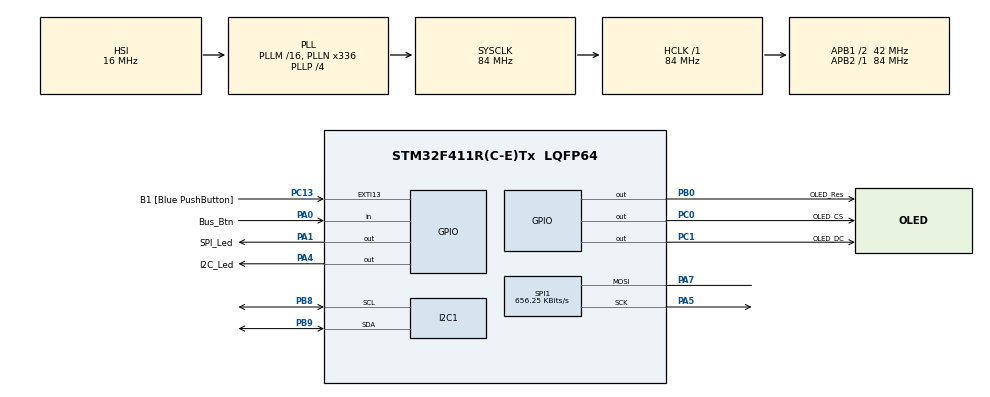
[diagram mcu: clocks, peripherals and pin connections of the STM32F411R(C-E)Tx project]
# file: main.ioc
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Mcu.Family=STM32F4
Mcu.Name=STM32F411R(C-E)Tx
Mcu.Package=LQFP64
NVIC.PriorityGroup=NVIC_PRIORITYGROUP_0
PA0-WKUP.GPIO_Label=Bus_Btn
PA0-WKUP.Signal=GPIO_Input
PA1.GPIO_Label=SPI_Led
PA1.Signal=GPIO_Output
PA13.GPIO_Label=TMS
PA13.Signal=SYS_JTMS-SWDIO
PA14.GPIO_Label=TCK
PA14.Signal=SYS_JTCK-SWCLK
PA2.GPIO_Label=USART_TX
PA2.Signal=USART2_TX
PA3.GPIO_Label=USART_RX
PA3.Signal=USART2_RX
PA4.GPIO_Label=I2C_Led
PA4.Signal=GPIO_Output
PA5.Mode=Simplex_Bidirectional_Master
PA5.Signal=SPI1_SCK
PA7.Mode=Simplex_Bidirectional_Master
PA7.Signal=SPI1_MOSI
PB0.GPIO_Label=OLED_Res
PB0.Signal=GPIO_Output
PB3.GPIO_Label=SWO
PB3.Signal=SYS_JTDO-SWO
PB8.Mode=I2C
PB8.Signal=I2C1_SCL
PB9.Mode=I2C
PB9.Signal=I2C1_SDA
PC0.GPIO_Label=OLED_CS
PC0.Signal=GPIO_Output
PC1.GPIO_Label=OLED_DC
PC1.Signal=GPIO_Output
PC13-ANTI_TAMP.GPIO_Label=B1 [Blue PushButton]
PC13-ANTI_TAMP.GPIO_ModeDefaultEXTI=GPIO_MODE_IT_FALLING
PC13-ANTI_TAMP.Signal=GPXTI13
PC14-OSC32_IN.Signal=RCC_OSC32_IN
PC15-OSC32_OUT.Signal=RCC_OSC32_OUT
PH0\ -\ OSC_IN.Signal=RCC_OSC_IN
PH1\ -\ OSC_OUT.Signal=RCC_OSC_OUT
ProjectManager.HeapSize=0x200
ProjectManager.StackSize=0x400
ProjectManager.TargetToolchain=Makefile
RCC.48MHZClocksFreq_Value=84000000
RCC.AHBFreq_Value=84000000
RCC.APB1CLKDivider=RCC_HCLK_DIV2
RCC.APB1Freq_Value=42000000
RCC.APB1TimFreq_Value=84000000
RCC.APB2Freq_Value=84000000
RCC.APB2TimFreq_Value=84000000
RCC.CortexFreq_Value=84000000
RCC.FLatency-AdvancedSettings=FLASH_LATENCY_2
RCC.HCLKFreq_Value=84000000
RCC.HSE_VALUE=8000000
RCC.HSI_VALUE=16000000
RCC.LSE_VALUE=32768
RCC.PLLN=336
RCC.PLLP=RCC_PLLP_DIV4
RCC.SYSCLKFreq_VALUE=84000000
RCC.SYSCLKSource=RCC_SYSCLKSOURCE_PLLCLK
RCC.VCOOutputFreq_Value=336000000
SPI1.BaudRatePrescaler=SPI_BAUDRATEPRESCALER_128
SPI1.CalculateBaudRate=656.25 KBits/s
SPI1.Direction=SPI_DIRECTION_1LINE
SPI1.Mode=SPI_MODE_MASTER
SPI1.VirtualType=VM_MASTER
board=NUCLEO-F411RE

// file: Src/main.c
#include "main.h"
#include "stm32f4xx_hal.h"

/* USER CODE BEGIN Includes */
#include "ssd1306.h"
#include "ssd1306_tests.h"
#include <stdbool.h>
/* USER CODE END Includes */

I2C_HandleTypeDef hi2c1;

SPI_HandleTypeDef hspi1;

/* USER CODE BEGIN PV */
/* Private variables ---------------------------------------------------------*/

/* USER CODE END PV */

void SystemClock_Config(void);
static void MX_GPIO_Init(void);
static void MX_SPI1_Init(void);
static void MX_I2C1_Init(void);

/* USER CODE BEGIN PFP */
/* Private function prototypes -----------------------------------------------*/

/* USER CODE END PFP */

/* USER CODE BEGIN 0 */
void init() {
	HAL_GPIO_WritePin(SPI_Led_GPIO_Port, SPI_Led_Pin, GPIO_PIN_RESET);
	HAL_GPIO_WritePin(I2C_Led_GPIO_Port, I2C_Led_Pin, GPIO_PIN_RESET);
}

void loop() {
	// Blue button pressed - repeast the test
    if(HAL_GPIO_ReadPin(GPIOC, GPIO_PIN_13) == GPIO_PIN_RESET) {
		// Indicate that test is running
		HAL_GPIO_WritePin(I2C_Led_GPIO_Port, I2C_Led_Pin, GPIO_PIN_SET);

		ssd1306_TestAll();

		HAL_GPIO_WritePin(SPI_Led_GPIO_Port, SPI_Led_Pin, GPIO_PIN_RESET);
		HAL_GPIO_WritePin(I2C_Led_GPIO_Port, I2C_Led_Pin, GPIO_PIN_RESET);
    }

	// Blink an LED
	HAL_GPIO_TogglePin(I2C_Led_GPIO_Port, I2C_Led_Pin);
	HAL_Delay(150);
}

/* USER CODE END 0 */

int main(void)
{

  /* MCU Configuration----------------------------------------------------------*/

  /* Reset of all peripherals, Initializes the Flash interface and the Systick. */
  HAL_Init();

  /* Configure the system clock */
  SystemClock_Config();

  /* Initialize all configured peripherals */
  MX_GPIO_Init();
  MX_SPI1_Init();
  MX_I2C1_Init();

  /* Infinite loop */
  /* USER CODE BEGIN WHILE */
  init();
  while (1)
  {
    loop();
  /* USER CODE END WHILE */

  }

}

/** System Clock Configuration
*/
void SystemClock_Config(void)
{

  RCC_OscInitTypeDef RCC_OscInitStruct;
  RCC_ClkInitTypeDef RCC_ClkInitStruct;

    /**Configure the main internal regulator output voltage
    */
  __HAL_RCC_PWR_CLK_ENABLE();

  __HAL_PWR_VOLTAGESCALING_CONFIG(PWR_REGULATOR_VOLTAGE_SCALE1);

    /**Initializes the CPU, AHB and APB busses clocks
    */
  RCC_OscInitStruct.OscillatorType = RCC_OSCILLATORTYPE_HSI;
  RCC_OscInitStruct.HSIState = RCC_HSI_ON;
  RCC_OscInitStruct.HSICalibrationValue = 16;
  RCC_OscInitStruct.PLL.PLLState = RCC_PLL_ON;
  RCC_OscInitStruct.PLL.PLLSource = RCC_PLLSOURCE_HSI;
  RCC_OscInitStruct.PLL.PLLM = 16;
  RCC_OscInitStruct.PLL.PLLN = 336;
  RCC_OscInitStruct.PLL.PLLP = RCC_PLLP_DIV4;
  RCC_OscInitStruct.PLL.PLLQ = 4;
  if (HAL_RCC_OscConfig(&RCC_OscInitStruct) != HAL_OK)
  {
    _Error_Handler(__FILE__, __LINE__);
  }

    /**Initializes the CPU, AHB and APB busses clocks
    */
  RCC_ClkInitStruct.ClockType = RCC_CLOCKTYPE_HCLK|RCC_CLOCKTYPE_SYSCLK
                              |RCC_CLOCKTYPE_PCLK1|RCC_CLOCKTYPE_PCLK2;
  RCC_ClkInitStruct.SYSCLKSource = RCC_SYSCLKSOURCE_PLLCLK;
  RCC_ClkInitStruct.AHBCLKDivider = RCC_SYSCLK_DIV1;
  RCC_ClkInitStruct.APB1CLKDivider = RCC_HCLK_DIV2;
  RCC_ClkInitStruct.APB2CLKDivider = RCC_HCLK_DIV1;

  if (HAL_RCC_ClockConfig(&RCC_ClkInitStruct, FLASH_LATENCY_2) != HAL_OK)
  {
    _Error_Handler(__FILE__, __LINE__);
  }

    /**Configure the Systick interrupt time
    */
  HAL_SYSTICK_Config(HAL_RCC_GetHCLKFreq()/1000);

    /**Configure the Systick
    */
  HAL_SYSTICK_CLKSourceConfig(SYSTICK_CLKSOURCE_HCLK);

  /* SysTick_IRQn interrupt configuration */
  HAL_NVIC_SetPriority(SysTick_IRQn, 0, 0);
}

/* I2C1 init function */
static void MX_I2C1_Init(void)
{

  hi2c1.Instance = I2C1;
  hi2c1.Init.ClockSpeed = 400000;
  hi2c1.Init.DutyCycle = I2C_DUTYCYCLE_2;
  hi2c1.Init.OwnAddress1 = 0;
  hi2c1.Init.AddressingMode = I2C_ADDRESSINGMODE_7BIT;
  hi2c1.Init.DualAddressMode = I2C_DUALADDRESS_DISABLE;
  hi2c1.Init.OwnAddress2 = 0;
  hi2c1.Init.GeneralCallMode = I2C_GENERALCALL_DISABLE;
  hi2c1.Init.NoStretchMode = I2C_NOSTRETCH_DISABLE;
  if (HAL_I2C_Init(&hi2c1) != HAL_OK)
  {
    _Error_Handler(__FILE__, __LINE__);
  }

}

/* SPI1 init function */
static void MX_SPI1_Init(void)
{

  /* SPI1 parameter configuration*/
  hspi1.Instance = SPI1;
  hspi1.Init.Mode = SPI_MODE_MASTER;
  hspi1.Init.Direction = SPI_DIRECTION_2LINES;
  hspi1.Init.DataSize = SPI_DATASIZE_8BIT;
  hspi1.Init.CLKPolarity = SPI_POLARITY_LOW;
  hspi1.Init.CLKPhase = SPI_PHASE_1EDGE;
  hspi1.Init.NSS = SPI_NSS_SOFT;
  hspi1.Init.BaudRatePrescaler = SPI_BAUDRATEPRESCALER_128;
  hspi1.Init.FirstBit = SPI_FIRSTBIT_MSB;
  hspi1.Init.TIMode = SPI_TIMODE_DISABLE;
  hspi1.Init.CRCCalculation = SPI_CRCCALCULATION_DISABLE;
  hspi1.Init.CRCPolynomial = 10;
  if (HAL_SPI_Init(&hspi1) != HAL_OK)
  {
    _Error_Handler(__FILE__, __LINE__);
  }

}

/** Configure pins as
        * Analog
        * Input
        * Output
        * EVENT_OUT
        * EXTI
     PA2   ------> USART2_TX
     PA3   ------> USART2_RX
*/
static void MX_GPIO_Init(void)
{

  GPIO_InitTypeDef GPIO_InitStruct;

  /* GPIO Ports Clock Enable */
  __HAL_RCC_GPIOC_CLK_ENABLE();
  __HAL_RCC_GPIOH_CLK_ENABLE();
  __HAL_RCC_GPIOA_CLK_ENABLE();
  __HAL_RCC_GPIOB_CLK_ENABLE();

  /*Configure GPIO pin Output Level */
  HAL_GPIO_WritePin(GPIOC, OLED_CS_Pin|OLED_DC_Pin, GPIO_PIN_RESET);

  /*Configure GPIO pin Output Level */
  HAL_GPIO_WritePin(GPIOA, SPI_Led_Pin|I2C_Led_Pin, GPIO_PIN_RESET);

  /*Configure GPIO pin Output Level */
  HAL_GPIO_WritePin(OLED_Res_GPIO_Port, OLED_Res_Pin, GPIO_PIN_RESET);

  /*Configure GPIO pin : B1_Pin */
  GPIO_InitStruct.Pin = B1_Pin;
  GPIO_InitStruct.Mode = GPIO_MODE_IT_FALLING;
  GPIO_InitStruct.Pull = GPIO_NOPULL;
  HAL_GPIO_Init(B1_GPIO_Port, &GPIO_InitStruct);

  /*Configure GPIO pins : OLED_CS_Pin OLED_DC_Pin */
  GPIO_InitStruct.Pin = OLED_CS_Pin|OLED_DC_Pin;
  GPIO_InitStruct.Mode = GPIO_MODE_OUTPUT_PP;
  GPIO_InitStruct.Pull = GPIO_NOPULL;
  GPIO_InitStruct.Speed = GPIO_SPEED_FREQ_LOW;
  HAL_GPIO_Init(GPIOC, &GPIO_InitStruct);

  /*Configure GPIO pin : Bus_Btn_Pin */
  GPIO_InitStruct.Pin = Bus_Btn_Pin;
  GPIO_InitStruct.Mode = GPIO_MODE_INPUT;
  GPIO_InitStruct.Pull = GPIO_NOPULL;
  HAL_GPIO_Init(Bus_Btn_GPIO_Port, &GPIO_InitStruct);

  /*Configure GPIO pins : SPI_Led_Pin I2C_Led_Pin */
  GPIO_InitStruct.Pin = SPI_Led_Pin|I2C_Led_Pin;
  GPIO_InitStruct.Mode = GPIO_MODE_OUTPUT_PP;
  GPIO_InitStruct.Pull = GPIO_NOPULL;
  GPIO_InitStruct.Speed = GPIO_SPEED_FREQ_LOW;
  HAL_GPIO_Init(GPIOA, &GPIO_InitStruct);

  /*Configure GPIO pins : USART_TX_Pin USART_RX_Pin */
  GPIO_InitStruct.Pin = USART_TX_Pin|USART_RX_Pin;
  GPIO_InitStruct.Mode = GPIO_MODE_AF_PP;
  GPIO_InitStruct.Pull = GPIO_NOPULL;
  GPIO_InitStruct.Speed = GPIO_SPEED_FREQ_VERY_HIGH;
  GPIO_InitStruct.Alternate = GPIO_AF7_USART2;
  HAL_GPIO_Init(GPIOA, &GPIO_InitStruct);

  /*Configure GPIO pin : OLED_Res_Pin */
  GPIO_InitStruct.Pin = OLED_Res_Pin;
  GPIO_InitStruct.Mode = GPIO_MODE_OUTPUT_PP;
  GPIO_InitStruct.Pull = GPIO_NOPULL;
  GPIO_InitStruct.Speed = GPIO_SPEED_FREQ_LOW;
  HAL_GPIO_Init(OLED_Res_GPIO_Port, &GPIO_InitStruct);

}

void _Error_Handler(char * file, int line)
{
  while(1)
  {
  }
}

/************************ (C) COPYRIGHT STMicroelectronics *****END OF FILE****/
